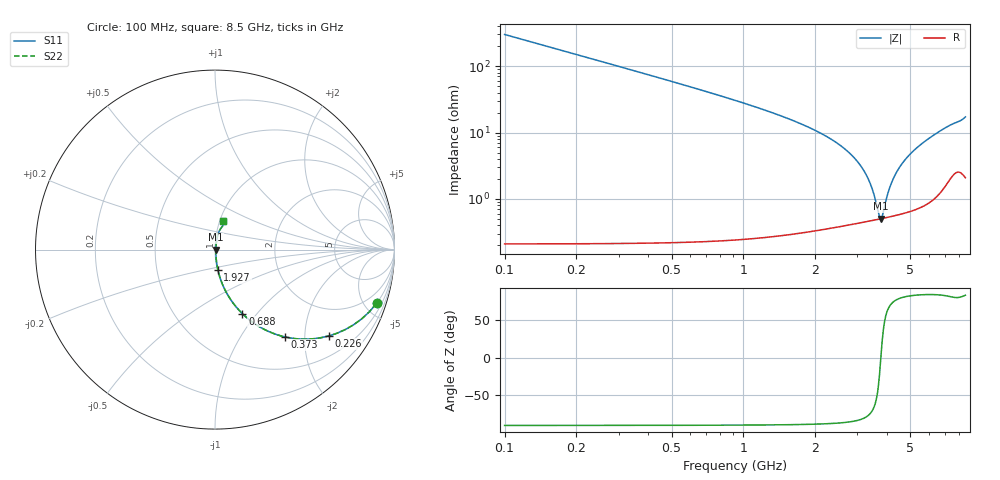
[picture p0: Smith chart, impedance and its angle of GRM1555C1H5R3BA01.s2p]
!Murata Part Number: GRM1555C1H5R3BA01
!These Parameters are Measured in Series Mode Connection
!Data Generated on Mar 30, 2021
!  o--ll--o
!Port1  Port2
!  o------o
!Operation Temp=25[degC], DC Bias Voltage=0[V]
!Freq. Start=100[MHz] Stop=9[GHz] 401[Steps]
# Hz S RI R 50
!Freq.(Hz) S11(Real) S11(Imag) S21(Real) S21(Imag) S12(Real) S12(Imag) S22(Real) S22(Imag)
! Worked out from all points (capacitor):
!   401 points, 100 MHz to 8.5 GHz, reference 50 ohm
!   read as one part in series: C = 5.3 pF near 142 MHz
!   lowest |Z| = 504 mohm at 3.754 GHz (marker M1)
!   series resonance near 3.762 GHz, so ESL is about 340 pH
!   S11 on the Smith chart (normalised r, x): 100 MHz: 1.00, -6.00; 226 MHz: 1.00, -2.65; 373 MHz: 1.00, -1.59; 688 MHz: 1.00, -0.84; 1.927 GHz: 1.01, -0.23; 8.5 GHz: 1.04, +0.34
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1e8  0.8999 -0.2998  0.1001 0.2998  0.1001 0.2998  0.8999 -0.2998
2.26e8  0.6365 -0.4802  0.3635 0.4802  0.3635 0.4802  0.6365 -0.4802
3.73e8  0.3888 -0.4861  0.6112 0.4861  0.6112 0.4861  0.3888 -0.4861
5.2e8  0.2437 -0.4274  0.7563 0.4274  0.7563 0.4274  0.2437 -0.4274
6.88e8  0.1523 -0.3567  0.8477 0.3567  0.8477 0.3567  0.1523 -0.3567
1.003e9  0.0736 -0.2568  0.9264 0.2568  0.9264 0.2568  0.0736 -0.2568
1.507e9  0.0298 -0.1616  0.9702 0.1616  0.9702 0.1616  0.0298 -0.1616
1.927e9  0.0161 -0.1126  0.9839 0.1126  0.9839 0.1126  0.0161 -0.1126
2.914e9  0.00586 -0.0408  0.9941 0.0408  0.9941 0.0408  0.00586 -0.0408
3.166e9  0.00519 -0.0275  0.9948 0.0275  0.9948 0.0275  0.00519 -0.0275
3.355e9  0.00495 -0.0182  0.9951 0.0182  0.9951 0.0182  0.00495 -0.0182
3.502e9  0.00488 -0.0114  0.9951 0.0114  0.9951 0.0114  0.00488 -0.0114
3.691e9  0.00495 -0.00303  0.9951 0.00303  0.9951 0.00303  0.00495 -0.00303
3.754e9  0.005 -0.000339  0.995 0.000339  0.995 0.000339  0.005 -0.000339
3.817e9  0.00507 0.00231  0.9949 -0.00231  0.9949 -0.00231  0.00507 0.00231
4.069e9  0.00548 0.0125  0.9945 -0.0125  0.9945 -0.0125  0.00548 0.0125
4.3e9  0.00603 0.0215  0.994 -0.0215  0.994 -0.0215  0.00603 0.0215
4.552e9  0.00681 0.0308  0.9932 -0.0308  0.9932 -0.0308  0.00681 0.0308
4.867e9  0.00803 0.042  0.992 -0.042  0.992 -0.042  0.00803 0.042
5.707e9  0.0128 0.0704  0.9872 -0.0704  0.9872 -0.0704  0.0128 0.0704
7.114e9  0.0302 0.1151  0.9698 -0.1151  0.9698 -0.1151  0.0302 0.1151
8.5e9  0.0472 0.1595  0.9528 -0.1595  0.9528 -0.1595  0.0472 0.1595
